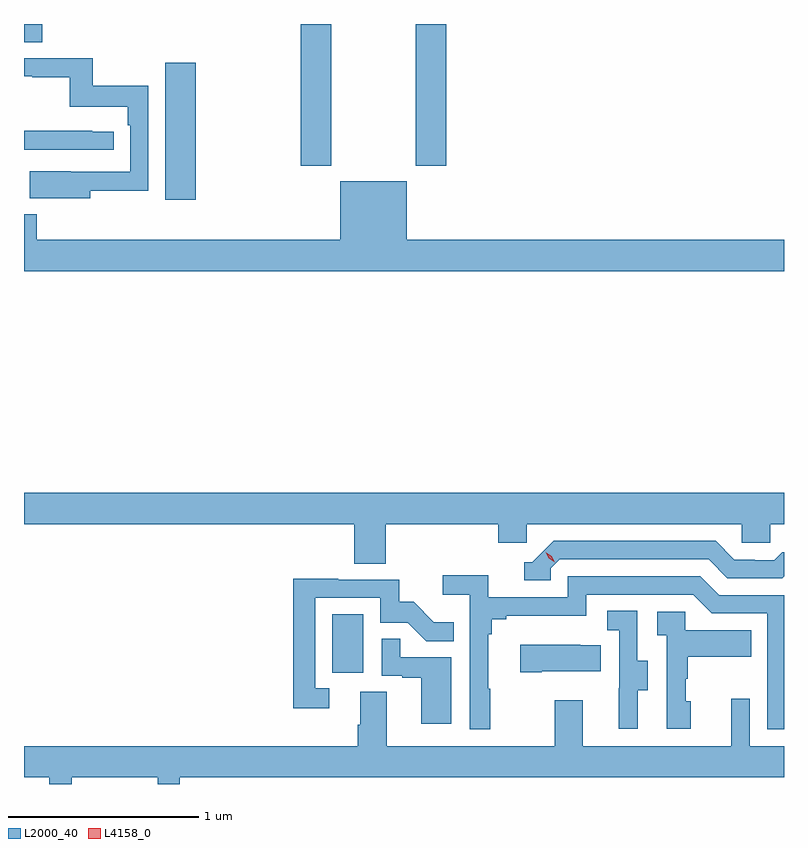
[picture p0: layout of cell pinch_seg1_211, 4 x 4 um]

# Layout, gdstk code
import gdstk
lib = gdstk.Library(unit=1e-6, precision=1e-09)
def R(c, l, rs):  # rectangles x0, y0, x1, y1
    for r in rs: c.add(gdstk.rectangle(r[:2], r[2:], *l))
def P(c, l, *ps):  # polygons
    for p in ps: c.add(gdstk.Polygon(p, *l))
L2000_40 = (2000, 40)
L4158_0 = (4158, 0)

pinch_seg1_211 = lib.new_cell('pinch_seg1_211')
R(pinch_seg1_211, L2000_40, [(1000.04,566.934,1000.204,567.241), (999.161,569.424,999.322,570.145), (999.875,569.601,1000.035,570.348), (1000.48,569.601,1000.64,570.348), (998.418,570.253,998.513,570.348)])
P(pinch_seg1_211, L2000_40, [(998.767,569.47),(999.072,569.47),(999.072,570.022),(998.779,570.022),(998.779,570.168),(998.418,570.168),(998.418,570.072),(998.461,570.072),(998.461,570.067),(998.658,570.067),(998.658,569.912),(998.963,569.912),(998.963,569.816),(998.976,569.816),(998.976,569.571),(998.663,569.571),(998.663,569.572),(998.449,569.572),(998.449,569.432),(998.767,569.432)],
  [(998.89,569.781),(998.777,569.781),(998.777,569.786),(998.418,569.786),(998.418,569.685),(998.89,569.685)],
  [(1002.418,569.212),(1000.432,569.212),(1000.432,569.521),(1000.082,569.521),(1000.082,569.212),(998.486,569.212),(998.486,569.347),(998.418,569.347),(998.418,569.048),(1002.418,569.048)],
  [(1000.322,567.716),(1000.913,567.716),(1000.913,567.618),(1001.064,567.618),(1001.064,567.716),(1002.195,567.716),(1002.195,567.618),(1002.345,567.618),(1002.345,567.716),(1002.418,567.716),(1002.418,567.88),(998.418,567.88),(998.418,567.716),(1000.157,567.716),(1000.157,567.508),(1000.322,567.508)],
  [(1001.19,567.483),(1001.238,567.531),(1002.021,567.531),(1002.12,567.432),(1002.409,567.432),(1002.418,567.441),(1002.418,567.568),(1002.409,567.568),(1002.367,567.525),(1002.264,567.525),(1002.264,567.528),(1002.157,567.528),(1002.058,567.627),(1001.205,567.627),(1001.094,567.516),(1001.051,567.516),(1001.051,567.42),(1001.19,567.42)],
  [(1000.873,566.849),(1000.861,566.849),(1000.861,567.137),(1000.88,567.137),(1000.88,567.214),(1000.957,567.214),(1000.957,567.233),(1001.376,567.233),(1001.376,567.345),(1001.94,567.345),(1002.039,567.246),(1002.33,567.246),(1002.33,566.637),(1002.418,566.637),(1002.418,567.342),(1002.076,567.342),(1001.977,567.441),(1001.28,567.441),(1001.28,567.33),(1000.862,567.33),(1000.862,567.446),(1000.623,567.446),(1000.623,567.344),(1000.764,567.344),(1000.764,566.637),(1000.873,566.637)],
  [(1000.024,566.853),(999.951,566.853),(999.951,567.327),(1000.293,567.327),(1000.293,567.198),(1000.437,567.198),(1000.535,567.1),(1000.679,567.1),(1000.679,567.199),(1000.575,567.199),(1000.468,567.306),(1000.392,567.306),(1000.392,567.423),(1000.073,567.423),(1000.073,567.428),(999.835,567.428),(999.835,566.748),(1000.024,566.748)],
  [(1001.647,566.842),(1001.701,566.842),(1001.701,566.997),(1001.646,566.997),(1001.646,567.26),(1001.487,567.26),(1001.487,567.157),(1001.55,567.157),(1001.55,566.853),(1001.549,566.853),(1001.549,566.64),(1001.647,566.64)],
  [(1001.926,566.784),(1001.901,566.784),(1001.901,566.903),(1001.911,566.903),(1001.911,567.017),(1002.245,567.017),(1002.245,567.157),(1001.898,567.157),(1001.898,567.255),(1001.751,567.255),(1001.751,567.131),(1001.802,567.131),(1001.802,566.64),(1001.926,566.64)],
  [(1000.666,567.015),(1000.397,567.015),(1000.397,567.113),(1000.302,567.113),(1000.302,566.919),(1000.409,566.919),(1000.409,566.907),(1000.508,566.907),(1000.508,566.664),(1000.666,566.664)],
  [(1001.143,566.942),(1001.453,566.942),(1001.453,567.079),(1001.345,567.079),(1001.345,567.082),(1001.031,567.082),(1001.031,566.935),(1001.143,566.935)],
  [(998.669,566.384),(999.122,566.384),(999.122,566.348),(999.239,566.348),(999.239,566.384),(1002.418,566.384),(1002.418,566.548),(1002.237,566.548),(1002.237,566.797),(1002.14,566.797),(1002.14,566.548),(1001.359,566.548),(1001.359,566.788),(1001.212,566.788),(1001.212,566.548),(1000.327,566.548),(1000.327,566.834),(1000.187,566.834),(1000.187,566.66),(1000.175,566.66),(1000.175,566.548),(998.418,566.548),(998.418,566.384),(998.551,566.384),(998.551,566.348),(998.669,566.348)])
P(pinch_seg1_211, L4158_0, [(1001.212,567.515),(1001.181,567.535),(1001.165,567.567),(1001.165,567.568),(1001.165,567.568),(1001.196,567.548),(1001.212,567.516),(1001.212,567.515)])

lib.write_gds('pinch_seg1_211.gds')
